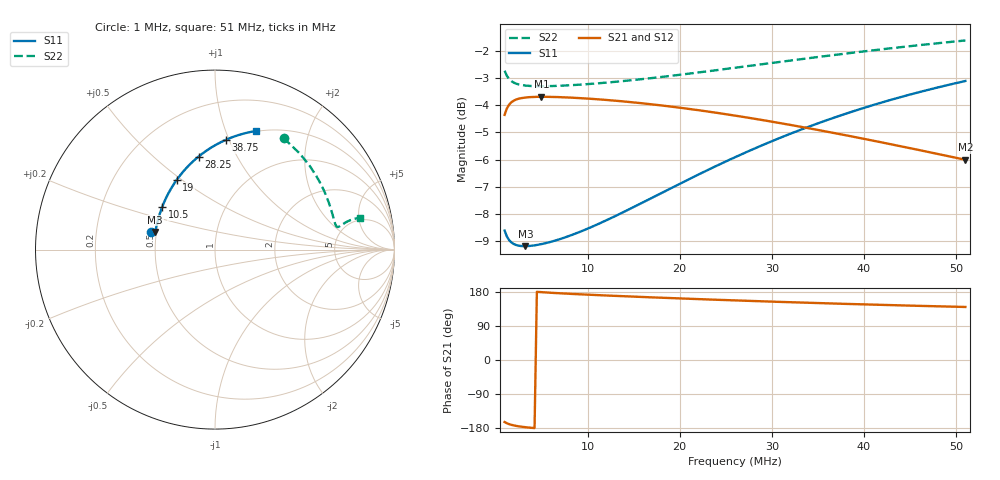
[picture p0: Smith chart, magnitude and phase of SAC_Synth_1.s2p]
# MHz S RI R 50
! S-Parameters data
! Freq  reS11  imS11  reS21  imS21  reS12  imS12  reS22  imS22
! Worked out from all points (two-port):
!   201 points, 1 MHz to 51 MHz, reference 50 ohm
!   highest |S21| = -3.70 dB at 5 MHz (marker M1); lowest = -6.0 dB at 51 MHz (marker M2)
!   |S21| within 3 dB of the highest: start of sweep to end of sweep
!   lowest |S11| = -9.2 dB at 3.25 MHz (marker M3), VSWR 2.07, Z = 24.6 + j5.52 ohm
!   |S11| at or under -10 dB: nowhere
!   |S22| runs from -3.3 to -1.6 dB; largest |S21 - S12| = 0
!   S11 on the Smith chart (normalised r, x): 1 MHz: 0.46, +0.11; 10.5 MHz: 0.49, +0.27; 19 MHz: 0.49, +0.48; 28.25 MHz: 0.50, +0.71; 38.75 MHz: 0.50, +0.97; 51 MHz: 0.50, +1.28
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1  -0.3581 0.099  -0.5811 -0.1699  -0.5811 -0.1699  0.3821 0.6214
1.25  -0.3504 0.0919  -0.6064 -0.1405  -0.6064 -0.1405  0.4734 0.5341
1.5  -0.3456 0.0881  -0.6216 -0.1168  -0.6216 -0.1168  0.5286 0.465
1.75  -0.3424 0.0866  -0.6313 -0.0976  -0.6313 -0.0976  0.5642 0.4107
2  -0.3401 0.0867  -0.6378 -0.0818  -0.6378 -0.0818  0.5882 0.3676
2.5  -0.3369 0.0898  -0.6455 -0.0571  -0.6455 -0.0571  0.6176 0.3046
2.75  -0.3357 0.0923  -0.6478 -0.0471  -0.6478 -0.0471  0.627 0.2811
3.25  -0.3335 0.0987  -0.6507 -0.0302  -0.6507 -0.0302  0.6399 0.2447
4  -0.3306 0.1104  -0.6528 -0.00996  -0.6528 -0.00996  0.6514 0.2075
5  -0.3267 0.1281  -0.6533 0.0115  -0.6533 0.0115  0.6601 0.1765
7  -0.3174 0.1664  -0.6509 0.0452  -0.6509 0.0452  0.6691 0.145
9.5  -0.3023 0.2158  -0.6445 0.0795  -0.6445 0.0795  0.676 0.1299
10.5  -0.2952 0.2355  -0.6412 0.0918  -0.6412 0.0918  0.6784 0.1274
14  -0.2657 0.3023  -0.627 0.1312  -0.627 0.1312  0.6871 0.1265
17.75  -0.227 0.3688  -0.608 0.1681  -0.608 0.1681  0.6973 0.1319
19  -0.2127 0.3895  -0.601 0.1794  -0.601 0.1794  0.7009 0.1343
26  -0.1229 0.4912  -0.5566 0.2334  -0.5566 0.2334  0.7234 0.1489
28.25  -0.0916 0.5183  -0.5411 0.2477  -0.5411 0.2477  0.7312 0.1533
34.5  -0.00192 0.5801  -0.4967 0.28  -0.4967 0.28  0.7534 0.1638
38.75  0.0594 0.6112  -0.4663 0.2963  -0.4663 0.2963  0.7685 0.1691
42.75  0.1161 0.6334  -0.4382 0.3079  -0.4382 0.3079  0.7825 0.1728
51  0.2267 0.6607  -0.3834 0.3224  -0.3834 0.3224  0.8098 0.1768
